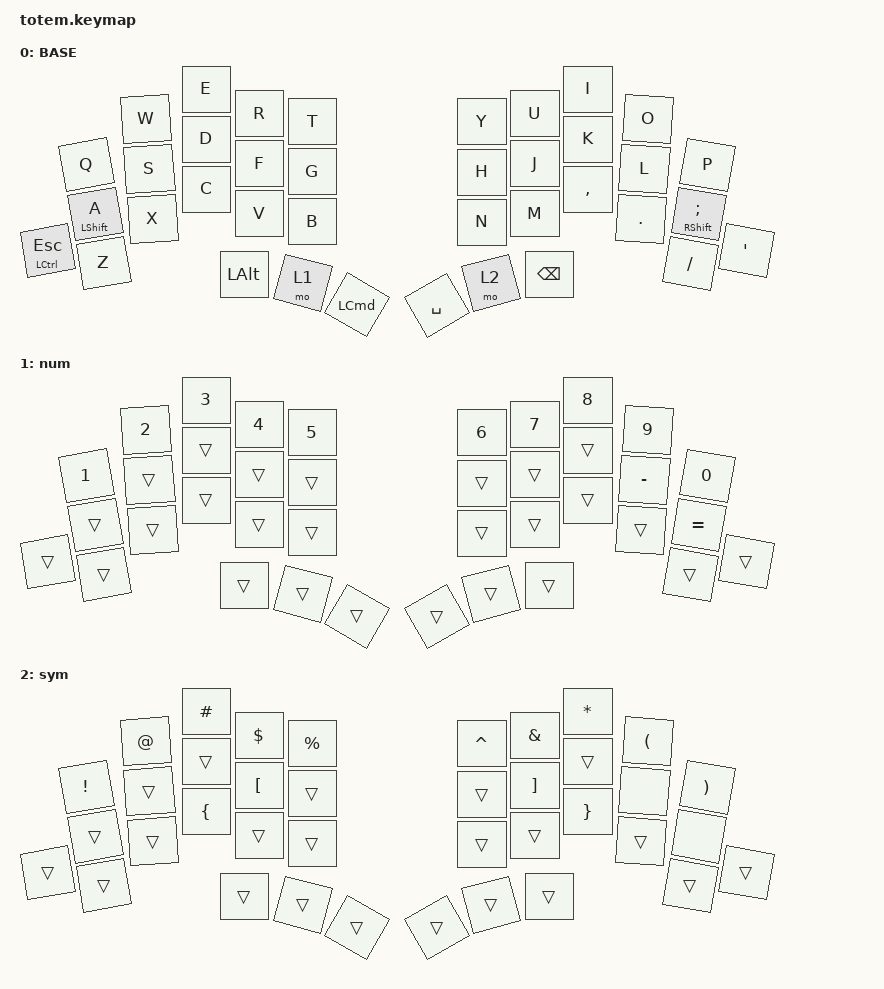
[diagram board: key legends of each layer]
//
//                                                        ▀▀▀▀▀     ▀▀▀▀▀          ▀▀█▀▀
//                                                        ▄▀▀▀▄  ▄  ▄▀▀▀▄  ▄  ▄▀▀▀▄  █  ▄▀▀▀▄
//                                                        █   █  █  █   █  █  █   █  █  █   █
//                                                         ▀▀▀   █   ▀▀▀   █   ▀▀▀   ▀   ▀▀▀
//                                                               █      ▄▄▄█▄▄▄    █   █  
//                                                               ▀      █  █  █     █▄█
//                                                             ▀▀▀▀▀    █  █  █      ▀
//                                                                      ▀  ▀  ▀
//
// ▄▄▄▄▄▄▄▄▄▄▄▄▄▄▄▄▄▄▄▄▄▄▄▄▄▄▄▄▄▄▄▄▄▄▄▄▄▄▄▄▄▄▄▄▄▄▄▄▄▄▄▄▄▄▄▄▄▄▄▄▄▄▄▄▄▄▄▄▄▄▄▄▄▄▄▄▄▄▄▄▄▄▄▄▄▄▄▄▄▄▄▄▄▄▄▄▄▄▄▄▄▄▄▄▄▄▄▄▄▄▄▄▄▄▄▄▄▄▄▄▄▄▄▄▄▄▄▄▄▄▄▄▄▄▄▄▄▄▄▄▄▄▄▄▄▄▄▄▄

#include <behaviors.dtsi>
#include <dt-bindings/zmk/keys.h>

#define BASE 0
#define NAV  1
#define SYM  2
#define ADJ  3
#define TVP1 4
#define TVP2 5

&mt {
    quick-tap-ms = <100>;
    global-quick-tap;
    flavor = "tap-preferred";
    tapping-term-ms = <170>;
};

/ {
    combos {
        compatible = "zmk,combos";

        combo_tab {
            timeout-ms = <50>;
            key-positions = <0 1>;
            bindings = <&kp TAB>;
        };

        combo_bkspc {
            bindings = <&kp BACKSPACE>;
            key-positions = <8 9>;
        };

        combo_enter {
            bindings = <&kp ENTER>;
            key-positions = <18 19>;
        };
    };

    macros {
        gif: gif {
            label = "giphy";
            compatible = "zmk,behavior-macro";
            #binding-cells = <0>;
            bindings =
                <&macro_press>,
                <&kp LSHFT>,
                <&macro_tap>,
                <&kp N2>,
                <&macro_release>,
                <&kp LSHFT>,
                <&macro_tap>,
                <&kp G &kp I &kp F>;
        };
    };

    keymap {
        compatible = "zmk,keymap";

        // ▄▄▄▄▄▄▄▄▄▄▄▄▄▄▄▄▄▄▄▄▄▄▄▄▄▄▄▄▄▄▄▄▄▄▄▄▄▄▄▄▄▄▄▄▄▄▄▄▄▄▄▄▄▄▄▄▄▄▄▄▄▄▄▄▄▄▄▄▄▄▄▄▄▄▄▄▄▄▄▄▄▄▄▄▄▄▄▄▄▄▄▄▄▄▄▄▄▄▄▄▄▄▄▄▄▄▄▄▄▄▄▄▄▄▄▄▄▄▄▄▄▄▄▄▄▄▄▄▄▄▄▄▄▄▄▄▄▄▄▄▄▄▄▄▄▄▄▄▄

        base {
            // ┏━━━━━━━━━━━━━━━━━━━━━━━━━━━━━━━━━━━━━━━┓

            label = "BASE";

            // ┗━━━━━━━━━━━━━━━━━━━━━━━━━━━━━━━━━━━━━━━┛
            //             ┏━━━━━━━━━━━┳━━━━━━━━━━━┳━━━━━━━━━━━┳━━━━━━━━━━━┳━━━━━━━━━━━┓   ┏━━━━━━━━━━━┳━━━━━━━━━━━┳━━━━━━━━━━━┳━━━━━━━━━━━┳━━━━━━━━━━━┓
            //             ┃     Q     ┃     W     ┃     F     ┃     P     ┃     G     ┃   ┃     J     ┃     L     ┃     U     ┃     Y     ┃     ;     ┃
            //             ┣━━━━━━━━━━━╋━━━━━━━━━━━╋━━━━━━━━━━━╋━━━━━━━━━━━╋━━━━━━━━━━━┫   ┣━━━━━━━━━━━╋━━━━━━━━━━━╋━━━━━━━━━━━╋━━━━━━━━━━━╋━━━━━━━━━━━┫
            //             ┃     A     ┃     R     ┃     S     ┃     T     ┃     D     ┃   ┃     H     ┃     N     ┃     E     ┃     I     ┃     O     ┃
            // ┏━━━━━━━━━━━╋━━━━━━━━━━━╋━━━━━━━━━━━╋━━━━━━━━━━━╋━━━━━━━━━━━╋━━━━━━━━━━━┫   ┣━━━━━━━━━━━╋━━━━━━━━━━━╋━━━━━━━━━━━╋━━━━━━━━━━━╋━━━━━━━━━━━╋━━━━━━━━━━━┓
            // ┃     Q     ┃     Z     ┃     X     ┃     C     ┃     V     ┃     B     ┃   ┃     K     ┃     M     ┃     ,     ┃     .     ┃     /     ┃     \     ┃
            // ┗━━━━━━━━━━━┻━━━━━━━━━━━┻━━━━━━━━━━━╋━━━━━━━━━━━╋━━━━━━━━━━━╋━━━━━━━━━━━┫   ┣━━━━━━━━━━━╋━━━━━━━━━━━╋━━━━━━━━━━━╋━━━━━━━━━━━┻━━━━━━━━━━━┻━━━━━━━━━━━┛
            //                                     ┃    DEL    ┃    TAB    ┃    SPC    ┃   ┃   ENTER   ┃           ┃   BSPC    ┃
            //                                     ┗━━━━━━━━━━━┻━━━━━━━━━━━┻━━━━━━━━━━━┛   ┗━━━━━━━━━━━┻━━━━━━━━━━━┻━━━━━━━━━━━┛

            bindings = <
                         &kp Q             &kp W  &kp E         &kp R  &kp T               &kp Y      &kp U  &kp I      &kp O    &kp P
                         &mt LEFT_SHIFT A  &kp S  &kp D         &kp F  &kp G               &kp H      &kp J  &kp K      &kp L    &mt RIGHT_SHIFT SEMI
&mt LEFT_CONTROL ESCAPE  &kp Z             &kp X  &kp C         &kp V  &kp B               &kp N      &kp M  &kp COMMA  &kp DOT  &kp FSLH              &kp SINGLE_QUOTE
                                                  &kp LEFT_ALT  &mo 1  &kp LEFT_COMMAND    &kp SPACE  &mo 2  &kp BSPC
            >;
        };

        num {
            bindings = <
        &kp N1  &kp N2  &kp N3  &kp N4  &kp N5    &kp N6  &kp N7  &kp N8  &kp N9     &kp N0
        &trans  &trans  &trans  &trans  &trans    &trans  &trans  &trans  &kp MINUS  &kp EQUAL
&trans  &trans  &trans  &trans  &trans  &trans    &trans  &trans  &trans  &trans     &trans     &trans
                        &trans  &trans  &trans    &trans  &trans  &trans
            >;
        };

        sym {
            bindings = <
        &kp EXCLAMATION  &kp AT_SIGN  &kp HASH        &kp DOLLAR        &kp PERCENT    &kp CARET  &kp AMPERSAND      &kp ASTERISK     &kp LEFT_PARENTHESIS  &kp RIGHT_PARENTHESIS
        &trans           &trans       &trans          &kp LEFT_BRACKET  &trans         &trans     &kp RIGHT_BRACKET  &trans           &none                 &none
&trans  &trans           &trans       &kp LEFT_BRACE  &trans            &trans         &trans     &trans             &kp RIGHT_BRACE  &trans                &trans                 &trans
                                      &trans          &trans            &trans         &trans     &trans             &trans
            >;
        };

        extra1 { status = "reserved"; };
    };
};
